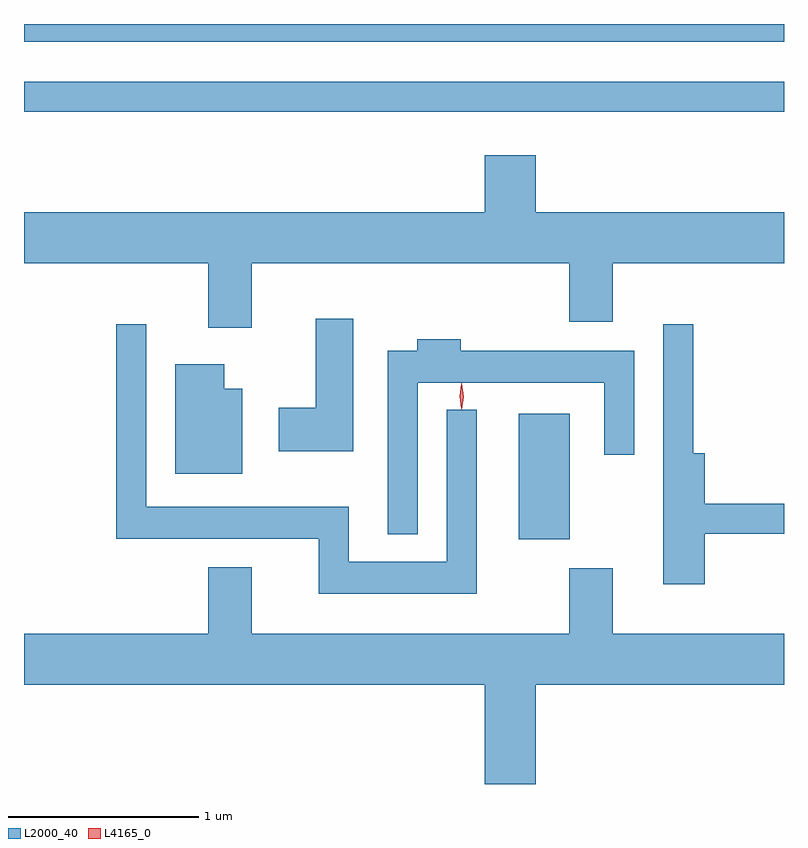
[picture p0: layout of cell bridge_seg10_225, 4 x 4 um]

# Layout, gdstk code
import gdstk
lib = gdstk.Library(unit=1e-6, precision=1e-09)
def R(c, l, rs):  # rectangles x0, y0, x1, y1
    for r in rs: c.add(gdstk.rectangle(r[:2], r[2:], *l))
def P(c, l, *ps):  # polygons
    for p in ps: c.add(gdstk.Polygon(p, *l))
L2000_40 = (2000, 40)
L4165_0 = (4165, 0)

bridge_seg10_225 = lib.new_cell('bridge_seg10_225')
R(bridge_seg10_225, L2000_40, [(1733.736,2101.361,1734.004,2102.024), (1731.131,2103.611,1735.131,2103.769), (1731.131,2103.981,1735.131,2104.074)])
P(bridge_seg10_225, L2000_40, [(1732.329,2102.816),(1734.001,2102.816),(1734.001,2102.506),(1734.229,2102.506),(1734.229,2102.816),(1735.131,2102.816),(1735.131,2103.084),(1733.824,2103.084),(1733.824,2103.384),(1733.556,2103.384),(1733.556,2103.084),(1731.131,2103.084),(1731.131,2102.816),(1732.101,2102.816),(1732.101,2102.476),(1732.329,2102.476)],
  [(1732.864,2102.524),(1732.666,2102.524),(1732.666,2102.054),(1732.471,2102.054),(1732.471,2101.826),(1732.864,2101.826)],
  [(1734.714,2101.391),(1735.131,2101.391),(1735.131,2101.549),(1734.714,2101.549),(1734.714,2101.814),(1734.654,2101.814),(1734.654,2102.493),(1734.496,2102.493),(1734.496,2101.126),(1734.714,2101.126)],
  [(1733.514,2102.043),(1733.356,2102.043),(1733.356,2101.244),(1732.839,2101.244),(1732.839,2101.534),(1731.774,2101.534),(1731.774,2102.493),(1731.616,2102.493),(1731.616,2101.366),(1732.681,2101.366),(1732.681,2101.076),(1733.514,2101.076)],
  [(1733.204,2102.186),(1734.186,2102.186),(1734.186,2101.808),(1734.344,2101.808),(1734.344,2102.354),(1733.429,2102.354),(1733.429,2102.414),(1733.201,2102.414),(1733.201,2102.354),(1733.046,2102.354),(1733.046,2101.388),(1733.204,2101.388)],
  [(1732.279,2102.154),(1732.184,2102.154),(1732.184,2102.284),(1731.926,2102.284),(1731.926,2101.706),(1732.279,2101.706)],
  [(1733.824,2100.596),(1735.131,2100.596),(1735.131,2100.864),(1734.229,2100.864),(1734.229,2101.209),(1734.001,2101.209),(1734.001,2100.864),(1732.329,2100.864),(1732.329,2101.214),(1732.101,2101.214),(1732.101,2100.864),(1731.131,2100.864),(1731.131,2100.596),(1733.556,2100.596),(1733.556,2100.074),(1733.824,2100.074)])
P(bridge_seg10_225, L4165_0, [(1733.434,2102.047),(1733.433,2102.048),(1733.424,2102.114),(1733.433,2102.18),(1733.434,2102.181),(1733.434,2102.18),(1733.444,2102.114),(1733.434,2102.048)],
  [(1733.434,2102.044),(1733.425,2102.113),(1733.434,2102.182),(1733.435,2102.183),(1733.435,2102.182),(1733.445,2102.113),(1733.435,2102.044),(1733.435,2102.044)])

lib.write_gds('bridge_seg10_225.gds')
